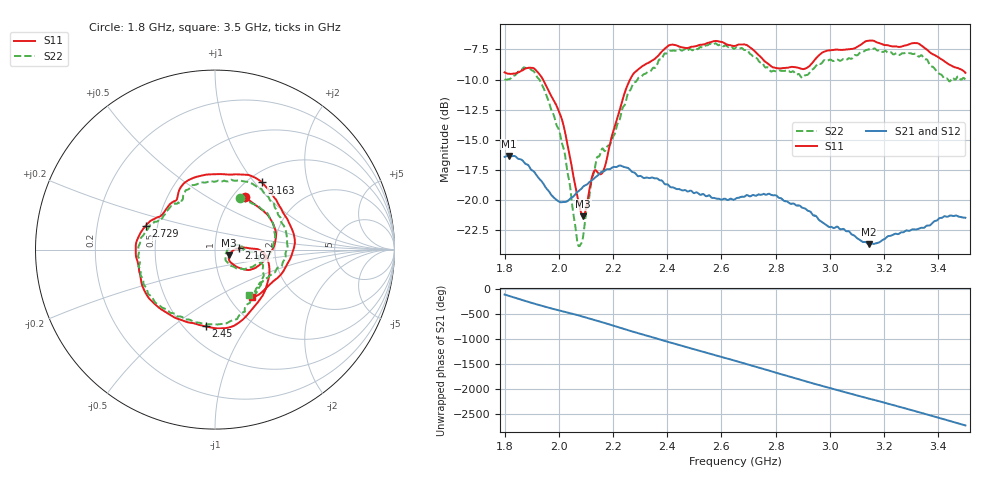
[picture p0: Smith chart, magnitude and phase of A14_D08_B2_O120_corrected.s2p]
! Created with skrf 1.9.0 (http://scikit-rf.org).
# Hz S RI R 50.0
!freq ReS11 ImS11 ReS21 ImS21 ReS12 ImS12 ReS22 ImS22
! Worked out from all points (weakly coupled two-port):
!   1601 points, 1.8 GHz to 3.5 GHz, reference 50 ohm
!   highest |S21| = -16.32 dB at 1.816 GHz (marker M1); lowest = -23.6 dB at 3.144 GHz (marker M2)
!   lowest |S11| = -21.3 dB at 2.09 GHz (marker M3), VSWR 1.19, Z = 58.5 - j3.78 ohm
!   |S11| at or under -10 dB: 1.942 GHz to 2.263 GHz (321.1 MHz wide, 15.3 % of centre)
!   |S22| runs from -23.8 to -7.0 dB; largest |S21 - S12| = 0.003
!   S11 on the Smith chart (normalised r, x): 1.8 GHz: 1.13, +0.76; 2.167 GHz: 1.31, +0.03; 2.45 GHz: 0.63, -0.66; 2.729 GHz: 0.43, +0.14; 3.163 GHz: 1.16, +1.09; 3.5 GHz: 1.27, -0.76
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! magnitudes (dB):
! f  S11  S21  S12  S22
! 1.8 GHz  -9.4  -16.4  -16.4  -10.0
! 1.816 GHz  -9.5  -16.3  -16.3  -10.0
! 1.888 GHz  -9.0  -17.1  -17.2  -9.0
! 1.942 GHz  -10.0  -18.6  -18.6  -10.7
! 2.013 GHz  -13.4  -20.2  -20.2  -15.4
! 2.067 GHz  -19.5  -19.3  -19.4  -23.2
! 2.084 GHz  -21.1  -19.0  -19.0  -23.6
! 2.09 GHz  -21.3  -18.9  -18.9  -22.9
! 2.131 GHz  -17.6  -18.2  -18.2  -17.5
! 2.167 GHz  -17.4  -17.6  -17.6  -15.9
! 2.261 GHz  -10.1  -17.4  -17.5  -10.9
! 2.367 GHz  -8.0  -18.3  -18.2  -8.5
! 2.45 GHz  -7.3  -19.1  -19.1  -7.6
! 2.65 GHz  -7.2  -19.9  -19.9  -7.4
! 2.729 GHz  -7.8  -19.6  -19.6  -8.2
! 2.799 GHz  -9.0  -19.6  -19.6  -9.3
! 2.934 GHz  -8.7  -21.1  -21.1  -9.2
! 3.144 GHz  -6.8  -23.6  -23.6  -7.5
! 3.163 GHz  -6.8  -23.6  -23.6  -7.4
! 3.217 GHz  -7.2  -23.0  -23.0  -7.8
! 3.326 GHz  -7.0  -22.4  -22.4  -8.1
! 3.5 GHz  -9.4  -21.4  -21.4  -10.0
